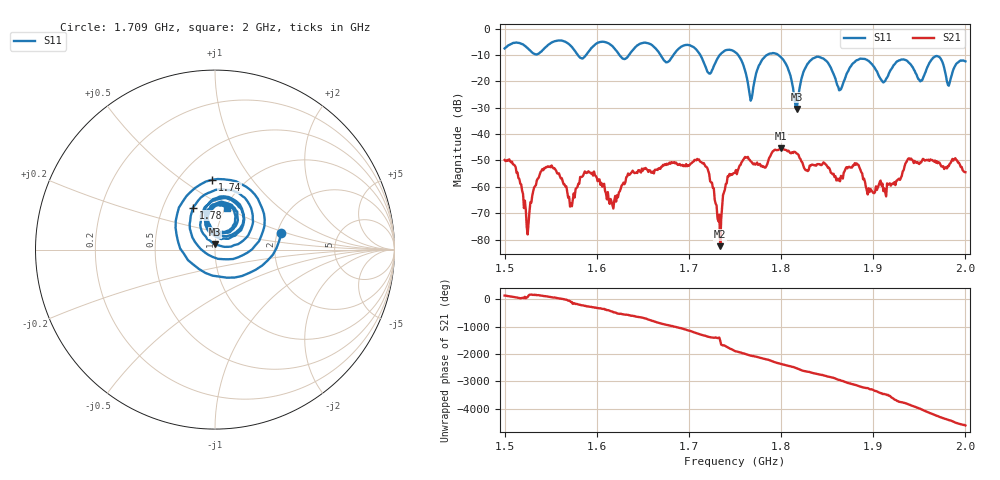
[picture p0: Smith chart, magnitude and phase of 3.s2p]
! NanoVNA-App by SYSJOINT et al v1.1.209 (+OD18)
! Date: 2026-01-21 14:27:21
! Start: 1,5GHz Stop: 2GHz Points: 501
! S-Parameter data: F S11 S21 S12 S22
# Hz S RI R 50
!  Frequency  S11_Real  S11_Imag  S21_Real  S21_Imag  S12_Real  S12_Imag  S22_Real  S22_Imag
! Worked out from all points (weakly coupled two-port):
!   501 points, 1.5 GHz to 2 GHz, reference 50 ohm
!   highest |S21| = -45.41 dB at 1.8 GHz (marker M1); lowest = -82.5 dB at 1.734 GHz (marker M2)
!   lowest |S11| = -30.4 dB at 1.817 GHz (marker M3), VSWR 1.06, Z = 49.9 + j3 ohm
!   |S11| at or under -10 dB: 1.712 GHz to 1.734 GHz (21.21 MHz wide, 1.23 % of centre); 1.753 GHz to 1.785 GHz (31.47 MHz wide, 1.78 % of centre); 1.797 GHz to end of sweep (the widest 3 of 6)
!   S12 and S22 are empty: the file has one direction only
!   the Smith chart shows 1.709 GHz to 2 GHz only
!   S11 on the Smith chart (normalised r, x): 1.709 GHz: 2.11, +0.46; 1.74 GHz: 0.72, +0.66; 1.78 GHz: 0.71, +0.35; 2 GHz: 1.03, +0.50
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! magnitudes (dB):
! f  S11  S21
! 1.5 GHz  -7.5  -49.8
! 1.512 GHz  -5.3  -52.5
! 1.525 GHz  -7.4  -78.0
! 1.541 GHz  -8.2  -53.3
! 1.572 GHz  -6.6  -66.2
! 1.584 GHz  -11.3  -56.2
! 1.616 GHz  -6.4  -65.6
! 1.667 GHz  -8.8  -53.0
! 1.709 GHz  -8.4  -49.4
! 1.734 GHz  -9.8  -82.5
! 1.74 GHz  -8.2  -59.0
! 1.75 GHz  -8.9  -54.7
! 1.767 GHz  -27.3  -50.3
! 1.78 GHz  -11.6  -52.4
! 1.8 GHz  -10.9  -45.4
! 1.817 GHz  -30.4  -47.4
! 1.834 GHz  -11.4  -51.6
! 1.864 GHz  -23.2  -57.9
! 1.885 GHz  -11.6  -52.6
! 1.917 GHz  -17.0  -58.9
! 1.939 GHz  -13.0  -49.2
! 2 GHz  -12.4  -54.4
